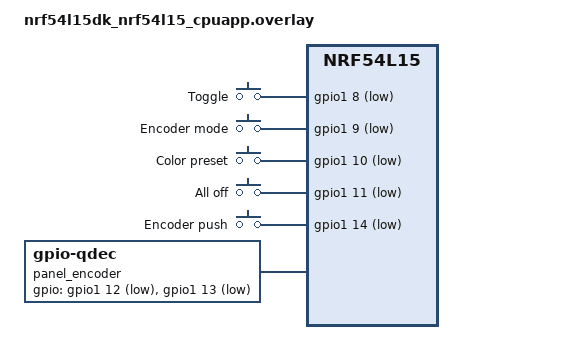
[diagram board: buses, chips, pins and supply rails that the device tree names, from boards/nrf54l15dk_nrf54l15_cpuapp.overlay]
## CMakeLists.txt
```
# SPDX-License-Identifier: Apache-2.0
cmake_minimum_required(VERSION 3.20.0)

find_package(Zephyr REQUIRED HINTS $ENV{ZEPHYR_BASE})
project(coap_switch_panel)

target_include_directories(app PRIVATE ${CMAKE_CURRENT_SOURCE_DIR}/../common)

target_sources(app PRIVATE
  src/main.c
  src/display.c
  src/battery.c
  ../common/binding.c
)
```

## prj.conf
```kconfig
# --- Panel switch (battery-powered Thread SSED with buttons + rotary encoder) ---

# Networking + IPv6 + sockets
CONFIG_NETWORKING=y
CONFIG_NET_IPV6=y
CONFIG_NET_UDP=y
CONFIG_NET_SOCKETS=y
CONFIG_NET_CONNECTION_MANAGER=y

# OpenThread MTD, Sleepy End Device for battery life.
# Low-power "sender-only" profile like the inner switch: CSL receive is left
# DISABLED (this panel only transmits; ACKs arrive right after our own TX). A
# long data-poll keep-alive stays attached; keep it below the child timeout.
CONFIG_NET_L2_OPENTHREAD=y
CONFIG_OPENTHREAD_MTD=y
CONFIG_OPENTHREAD_MTD_SED=y
CONFIG_OPENTHREAD_JOINER=y
# CONFIG_OPENTHREAD_CSL_RECEIVER is not set
CONFIG_OPENTHREAD_POLL_PERIOD=120000
# See docs/hardware/power-budget.md for the battery-life analysis.

# CoAP client + CBOR
CONFIG_COAP=y
CONFIG_COAP_CLIENT=y
CONFIG_ZCBOR=y

# Persist binding records
CONFIG_SETTINGS=y
CONFIG_FLASH=y
CONFIG_FLASH_MAP=y
CONFIG_NVS=y
CONFIG_SETTINGS_NVS=y

# Input subsystem: buttons (gpio-keys) + rotary encoder (gpio-qdec)
CONFIG_GPIO=y
CONFIG_INPUT=y
CONFIG_INPUT_GPIO_KEYS=y
CONFIG_INPUT_GPIO_QDEC=y

# Power management
CONFIG_PM=y
CONFIG_PM_DEVICE=y

# --- Optional e-paper status display ---
# The display code self-disables unless the board overlay chooses a
# `zephyr,display`. To fit an e-paper (e.g. SSD1680), apply the example overlay
# boards/epd-ssd1680.overlay.example and enable the options below:
# CONFIG_SPI=y
# CONFIG_DISPLAY=y
# CONFIG_CHARACTER_FRAMEBUFFER=y
# CONFIG_SSD16XX=y
# CONFIG_NEWLIB_LIBC=y   # or ensure snprintf/float-free formatting is available

# --- Optional nPM1300 battery fuel gauge (nRF Connect SDK) ---
# The battery code self-disables unless an `npm1300_charger` node exists in DT.
# To use the nPM1300, apply boards/npm1300.overlay.example and enable:
# CONFIG_I2C=y
# CONFIG_MFD=y
# CONFIG_REGULATOR=y
# CONFIG_REGULATOR_NPM1300=y
# CONFIG_SENSOR=y
# CONFIG_NPM1300_CHARGER=y
# CONFIG_GPIO_NPM1300=y
# CONFIG_NRF_FUEL_GAUGE=y
# Plus link your cell's battery model (provides `battery_model`), and enable
# floating point for the fuel gauge: CONFIG_FPU=y and a libc with float printf.

CONFIG_LOG=y
CONFIG_MAIN_STACK_SIZE=4096
CONFIG_HEAP_MEM_POOL_SIZE=8192
```

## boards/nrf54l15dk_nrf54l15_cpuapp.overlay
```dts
/*
 * Panel switch inputs for the nRF54L15 DK (prototype for the switch-cover PCB).
 *
 * - Four action buttons + the encoder push, exposed as input key codes.
 * - A rotary encoder via gpio-qdec, reporting relative INPUT_REL_WHEEL events.
 *
 * Pins are examples for prototyping on the DK; on the real battery PCB pick
 * SENSE-capable pins so any input can wake the SoC from deep sleep, and use
 * high-value pull-ups to limit leakage. See docs/hardware/panel-switch.md.
 */
#include <zephyr/dt-bindings/input/input-event-codes.h>

/ {
	panel_buttons {
		compatible = "gpio-keys";
		btn0: btn0 {
			gpios = <&gpio1 8 (GPIO_PULL_UP | GPIO_ACTIVE_LOW)>;
			zephyr,code = <INPUT_KEY_0>;
			label = "Toggle";
		};
		btn1: btn1 {
			gpios = <&gpio1 9 (GPIO_PULL_UP | GPIO_ACTIVE_LOW)>;
			zephyr,code = <INPUT_KEY_1>;
			label = "Encoder mode";
		};
		btn2: btn2 {
			gpios = <&gpio1 10 (GPIO_PULL_UP | GPIO_ACTIVE_LOW)>;
			zephyr,code = <INPUT_KEY_2>;
			label = "Color preset";
		};
		btn3: btn3 {
			gpios = <&gpio1 11 (GPIO_PULL_UP | GPIO_ACTIVE_LOW)>;
			zephyr,code = <INPUT_KEY_3>;
			label = "All off";
		};
		btn_enc: btn_enc {
			gpios = <&gpio1 14 (GPIO_PULL_UP | GPIO_ACTIVE_LOW)>;
			zephyr,code = <INPUT_KEY_ENTER>;
			label = "Encoder push";
		};
	};

	panel_encoder: panel_encoder {
		compatible = "gpio-qdec";
		gpios = <&gpio1 12 (GPIO_PULL_UP | GPIO_ACTIVE_LOW)>,
			<&gpio1 13 (GPIO_PULL_UP | GPIO_ACTIVE_LOW)>;
		steps-per-period = <4>;
		zephyr,axis = <INPUT_REL_WHEEL>;
		sample-time-us = <2000>;
		idle-timeout-ms = <200>;
	};
};
```

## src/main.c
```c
/*
 * Panel switch: a switch-cover-sized, battery-powered controller with several
 * buttons and a rotary encoder. Runs as a Thread SSED and drives bound lights
 * over CoAP (shared binding module).
 *
 * Because the SSED does not continuously track the light, it keeps a local
 * "shadow" of brightness/color-temperature and sends absolute values. The
 * shadow can drift from the real light; for tight sync a periodic GET/Observe
 * could be added (at a power cost).
 *
 * Default control mapping (buttons wired via the board overlay as input keys):
 *   KEY_0        : toggle on/off
 *   KEY_1        : cycle encoder mode (brightness <-> color temperature)
 *   KEY_2        : cycle color-temperature preset (warm / neutral / cool)
 *   KEY_3        : all off
 *   KEY_ENTER    : encoder push  -> toggle on/off
 *   encoder turn : adjust the active mode's value (brightness or color temp)
 */
#include <zephyr/kernel.h>
#include <zephyr/input/input.h>
#include <zephyr/logging/log.h>

#include "binding.h"
#include "display.h"
#include "battery.h"

LOG_MODULE_REGISTER(panel_main, LOG_LEVEL_INF);

/* Steps and limits for encoder adjustments (color temperature in mireds). */
#define BRI_STEP   16
#define CT_STEP    16

enum enc_mode { ENC_MODE_BRIGHTNESS = 0, ENC_MODE_CT, ENC_MODE_COUNT };

/* Local shadow of what we last commanded (also drives the optional display). */
static bool sh_on;
static uint8_t sh_bri = LIGHT_BRI_MAX;
static uint16_t sh_ct = (LIGHT_CT_MIN + LIGHT_CT_MAX) / 2;
static enum enc_mode enc_mode = ENC_MODE_BRIGHTNESS;

/* Color-temperature presets cycled by KEY_2 (mireds). */
static const uint16_t ct_presets[] = {
	LIGHT_CT_MAX,                          /* warm  (~2700K) */
	(LIGHT_CT_MIN + LIGHT_CT_MAX) / 2,     /* neutral */
	LIGHT_CT_MIN,                          /* cool  (~6500K) */
};
static int ct_preset_idx;

/* Push the current shadow to the (optional) e-paper display. */
static void ui_push(void)
{
	struct panel_ui ui = {
		.on = sh_on,
		.bri = sh_bri,
		.ct_mode = (enc_mode == ENC_MODE_CT),
		.ct = sh_ct,
		.battery_pct = battery_soc_pct(), /* -1 if no nPM1300 fitted */
	};

	panel_display_request(&ui);
}

/* Periodically refresh the display so the battery %% stays current even with
 * no user activity. Battery changes slowly, so this can be infrequent. */
#define BATTERY_REFRESH_MIN 30
static struct k_work_delayable battery_work;

static void battery_handler(struct k_work *work)
{
	ARG_UNUSED(work);
	ui_push();
	k_work_reschedule(&battery_work, K_MINUTES(BATTERY_REFRESH_MIN));
}

static int clampi(int v, int lo, int hi)
{
	if (v < lo) {
		return lo;
	}
	if (v > hi) {
		return hi;
	}
	return v;
}

/* --- actions --- */

static void action_toggle(void)
{
	struct light_cmd cmd = { .toggle = true };

	sh_on = !sh_on; /* shadow only; the light is the real source of truth */
	LOG_INF("toggle");
	binding_send(&cmd);
	ui_push();
}

static void action_all_off(void)
{
	struct light_cmd cmd = { .has_on = true, .on = false };

	sh_on = false;
	LOG_INF("all off");
	binding_send(&cmd);
	ui_push();
}

static void action_cycle_mode(void)
{
	enc_mode = (enc_mode + 1) % ENC_MODE_COUNT;
	LOG_INF("encoder mode -> %s",
		enc_mode == ENC_MODE_BRIGHTNESS ? "brightness" : "color-temp");
	ui_push();
}

static void action_cycle_ct_preset(void)
{
	struct light_cmd cmd = { .has_on = true, .on = true, .has_ct = true };

	ct_preset_idx = (ct_preset_idx + 1) % ARRAY_SIZE(ct_presets);
	sh_ct = ct_presets[ct_preset_idx];
	cmd.ct = sh_ct;
	sh_on = true;
	LOG_INF("ct preset -> %u mired", sh_ct);
	binding_send(&cmd);
	ui_push();
}

static void action_rotate(int delta)
{
	struct light_cmd cmd = { .has_on = true, .on = true };

	if (enc_mode == ENC_MODE_BRIGHTNESS) {
		sh_bri = clampi(sh_bri + delta * BRI_STEP, LIGHT_BRI_MIN,
				LIGHT_BRI_MAX);
		cmd.has_bri = true;
		cmd.bri = sh_bri;
		LOG_INF("brightness -> %u", sh_bri);
	} else {
		sh_ct = clampi(sh_ct + delta * CT_STEP, LIGHT_CT_MIN,
			       LIGHT_CT_MAX);
		cmd.has_ct = true;
		cmd.ct = sh_ct;
		LOG_INF("color-temp -> %u mireds", sh_ct);
	}
	sh_on = true;
	binding_send(&cmd);
	ui_push();
}

/* --- input handling --- */

static void input_cb(struct input_event *evt)
{
	if (evt->type == INPUT_EV_KEY && evt->value) {
		switch (evt->code) {
		case INPUT_KEY_0:
			action_toggle();
			break;
		case INPUT_KEY_1:
			action_cycle_mode();
			break;
		case INPUT_KEY_2:
			action_cycle_ct_preset();
			break;
		case INPUT_KEY_3:
			action_all_off();
			break;
		case INPUT_KEY_ENTER: /* encoder push */
			action_toggle();
			break;
		default:
			break;
		}
	} else if (evt->type == INPUT_EV_REL && evt->code == INPUT_REL_WHEEL) {
		action_rotate(evt->value);
	}
}

/* Subscribe to all input devices. (Some Zephyr versions take a 3rd user_data
 * argument; add NULL if your SDK requires it.) */
INPUT_CALLBACK_DEFINE(NULL, input_cb);

int main(void)
{
	LOG_INF("CoAP-over-Thread panel switch starting (SSED)");

	if (binding_init() != 0) {
		LOG_ERR("binding init failed");
		return -1;
	}

	/* Battery fuel gauge (no-op if no nPM1300 fitted). */
	battery_init();

	/* Optional e-paper status display (no-op if none is fitted). */
	panel_display_init();
	ui_push(); /* draw the initial screen */

	/* Keep the battery %% on the display fresh over time. */
	k_work_init_delayable(&battery_work, battery_handler);
	k_work_reschedule(&battery_work, K_MINUTES(BATTERY_REFRESH_MIN));

	LOG_INF("panel ready; sleeping between events");
	/* All control is input-driven; the SSED sleeps otherwise. */
	return 0;
}
```

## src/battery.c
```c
#include <zephyr/kernel.h>
#include <zephyr/devicetree.h>
#include <zephyr/logging/log.h>

#include "battery.h"

LOG_MODULE_REGISTER(battery, LOG_LEVEL_INF);

#if DT_NODE_EXISTS(DT_NODELABEL(npm1300_charger))

#include <zephyr/device.h>
#include <zephyr/drivers/sensor.h>
#include <nrf_fuel_gauge.h>

/*
 * This targets nRF Connect SDK: the nPM1300 charger is exposed as a Zephyr
 * sensor, and the nRF Fuel Gauge library turns its voltage/current/temperature
 * readings into a state-of-charge estimate. The exact fuel-gauge API and the
 * battery model are SDK-version and cell specific — see the NCS sample
 * `samples/pmic/native/npm1300_fuel_gauge` and adjust if your SDK differs.
 */

static const struct device *const charger =
	DEVICE_DT_GET(DT_NODELABEL(npm1300_charger));

/* Discharge/charge model for the specific Li-ion cell. Provide this from your
 * cell's generated nRF Fuel Gauge battery model (linked at build time). */
extern const struct battery_model battery_model;

static int64_t ref_time;

static int read_cell(float *voltage, float *current, float *temp)
{
	struct sensor_value value;
	int err;

	err = sensor_sample_fetch(charger);
	if (err) {
		return err;
	}
	if (sensor_channel_get(charger, SENSOR_CHAN_GAUGE_VOLTAGE, &value)) {
		return -EIO;
	}
	*voltage = (float)sensor_value_to_double(&value);
	if (sensor_channel_get(charger, SENSOR_CHAN_GAUGE_AVG_CURRENT, &value)) {
		return -EIO;
	}
	*current = (float)sensor_value_to_double(&value);
	if (sensor_channel_get(charger, SENSOR_CHAN_GAUGE_TEMP, &value)) {
		return -EIO;
	}
	*temp = (float)sensor_value_to_double(&value);
	return 0;
}

int battery_init(void)
{
	struct nrf_fuel_gauge_init_parameters params = {
		.model = &battery_model,
	};
	float v, i, t;
	int err;

	if (!device_is_ready(charger)) {
		LOG_WRN("nPM1300 charger not ready; battery %% unavailable");
		return -ENODEV;
	}
	err = read_cell(&v, &i, &t);
	if (err) {
		LOG_ERR("initial cell read failed: %d", err);
		return err;
	}
	params.v0 = v;
	params.i0 = i;
	params.t0 = t;
	nrf_fuel_gauge_init(&params, NULL);
	ref_time = k_uptime_get();
	LOG_INF("fuel gauge init: %.2f V, %.3f A, %.1f C", (double)v,
		(double)i, (double)t);
	return 0;
}

int battery_soc_pct(void)
{
	float v, i, t, soc, delta;
	int64_t now;

	if (!device_is_ready(charger)) {
		return -1;
	}
	if (read_cell(&v, &i, &t)) {
		return -1;
	}
	now = k_uptime_get();
	delta = (float)(now - ref_time) / 1000.0f;
	ref_time = now;

	/* vbus flag (last arg group) can be derived from the charger status for
	 * better accuracy while charging; false is a safe default on battery. */
	soc = nrf_fuel_gauge_process(v, i, t, delta, false, NULL);
	if (soc < 0.0f) {
		soc = 0.0f;
	} else if (soc > 100.0f) {
		soc = 100.0f;
	}
	return (int)(soc + 0.5f);
}

#else /* no nPM1300 charger in DT: report "unknown" */

int battery_init(void)
{
	return -ENODEV;
}

int battery_soc_pct(void)
{
	return -1;
}

#endif /* DT_NODE_EXISTS(DT_NODELABEL(npm1300_charger)) */
```

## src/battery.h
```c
/*
 * Battery state-of-charge for the panel switch, via the nPM1300 charger
 * (voltage/current/temperature measurements) + the nRF Fuel Gauge library.
 *
 * If no `npm1300_charger` node exists in the board devicetree, these are
 * no-ops returning "unknown", so the app builds/runs without an nPM1300.
 */
#ifndef PANEL_BATTERY_H_
#define PANEL_BATTERY_H_

/* Initialize the charger sensor + fuel gauge. Returns 0 on success, negative
 * if unavailable (non-fatal). */
int battery_init(void);

/* Current state of charge in percent (0..100), or -1 if unavailable. */
int battery_soc_pct(void);

#endif /* PANEL_BATTERY_H_ */
```

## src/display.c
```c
#include <zephyr/kernel.h>
#include <zephyr/devicetree.h>
#include <zephyr/logging/log.h>

#include "display.h"

LOG_MODULE_REGISTER(panel_display, LOG_LEVEL_INF);

#if DT_HAS_CHOSEN(zephyr_display)

#include <stdio.h>
#include <zephyr/device.h>
#include <zephyr/drivers/display.h>
#include <zephyr/display/cfb.h>

/* Coalesce window: wait this long after the last change before refreshing, so
 * a burst of encoder ticks results in a single e-paper update. */
#define REFRESH_COALESCE_MS 400
/* Do a full (ghost-clearing) refresh every N updates; partial otherwise. */
#define FULL_REFRESH_EVERY  20

static const struct device *const disp = DEVICE_DT_GET(DT_CHOSEN(zephyr_display));
static struct k_work_delayable refresh_work;
static struct k_mutex g_lock;
static struct panel_ui g_ui;
static uint32_t update_count;
static bool ready;

static void render(bool full)
{
	char line[24];

	/* Full refresh: clear the physical panel (drives the clearing waveform)
	 * to remove accumulated ghosting; otherwise just clear the framebuffer. */
	cfb_framebuffer_clear(disp, full);

	snprintf(line, sizeof(line), "Light: %s", g_ui.on ? "ON" : "OFF");
	cfb_print(disp, line, 0, 0);

	snprintf(line, sizeof(line), "Bri: %d%%", (g_ui.bri * 100) / 254);
	cfb_print(disp, line, 0, 16);

	snprintf(line, sizeof(line), "Enc: %s", g_ui.ct_mode ? "TEMP" : "BRIGHT");
	cfb_print(disp, line, 0, 32);

	/* Show color temperature in kelvin (mireds -> K). */
	if (g_ui.ct > 0) {
		snprintf(line, sizeof(line), "CT: %uK", 1000000u / g_ui.ct);
	} else {
		snprintf(line, sizeof(line), "CT: -");
	}
	cfb_print(disp, line, 0, 48);

	if (g_ui.battery_pct >= 0) {
		snprintf(line, sizeof(line), "Batt: %d%%", g_ui.battery_pct);
		cfb_print(disp, line, 0, 64);
	}

	cfb_framebuffer_finalize(disp);
}

static void refresh_handler(struct k_work *work)
{
	ARG_UNUSED(work);

	if (!ready) {
		return;
	}
	k_mutex_lock(&g_lock, K_FOREVER);
	render((update_count % FULL_REFRESH_EVERY) == 1);
	k_mutex_unlock(&g_lock);
}

int panel_display_init(void)
{
	k_mutex_init(&g_lock);
	k_work_init_delayable(&refresh_work, refresh_handler);

	if (!device_is_ready(disp)) {
		LOG_WRN("display not ready; UI disabled");
		return -ENODEV;
	}
	if (cfb_framebuffer_init(disp) != 0) {
		LOG_ERR("cfb init failed");
		return -EIO;
	}
	cfb_framebuffer_set_font(disp, 0);
	display_blanking_off(disp);
	ready = true;
	LOG_INF("e-paper display ready");
	return 0;
}

void panel_display_request(const struct panel_ui *ui)
{
	k_mutex_lock(&g_lock, K_FOREVER);
	g_ui = *ui;
	update_count++;
	k_mutex_unlock(&g_lock);

	/* (Re)schedule a single refresh; bursts collapse into one update. */
	k_work_reschedule(&refresh_work, K_MSEC(REFRESH_COALESCE_MS));
}

#else /* no chosen display: no-op stubs so the app builds without an EPD */

int panel_display_init(void)
{
	return 0;
}

void panel_display_request(const struct panel_ui *ui)
{
	ARG_UNUSED(ui);
}

#endif /* DT_HAS_CHOSEN(zephyr_display) */
```

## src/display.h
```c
/*
 * Optional e-paper status display for the panel switch.
 *
 * The panel is a sender-only SSED, so the values shown are the last-commanded
 * (shadow) values, not confirmed light state. Redraws are coalesced and the
 * e-paper is refreshed a short time after activity settles, with an occasional
 * full refresh to clear ghosting (see docs/hardware/panel-switch.md §4.2).
 *
 * If no `zephyr,display` is chosen in the board overlay, all functions here are
 * no-ops so the app still builds and runs without a display.
 */
#ifndef PANEL_DISPLAY_H_
#define PANEL_DISPLAY_H_

#include <stdbool.h>
#include <stdint.h>

struct panel_ui {
	bool on;             /* last-commanded on/off (shadow) */
	uint8_t bri;         /* 1..254 */
	bool ct_mode;        /* encoder adjusts color temp (true) or brightness */
	uint16_t ct;         /* color temperature, mireds */
	int battery_pct;     /* 0..100, or -1 if unknown */
};

/* Initialize the display. Returns 0 on success, negative if unavailable
 * (treated as non-fatal by the caller). No-op without a chosen display. */
int panel_display_init(void);

/* Request a redraw with the given state. Coalesced: the physical e-paper
 * refresh happens once, shortly after the last request. No-op without a
 * chosen display. */
void panel_display_request(const struct panel_ui *ui);

#endif /* PANEL_DISPLAY_H_ */
```
